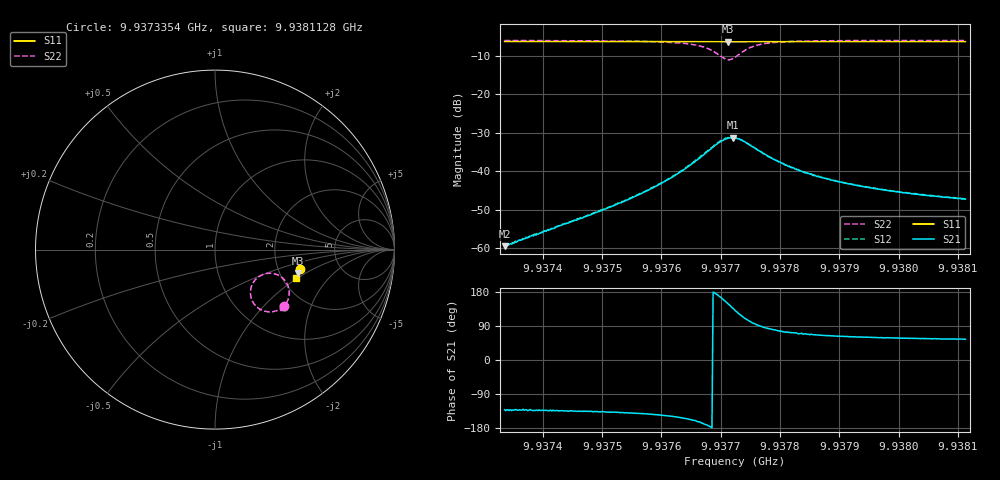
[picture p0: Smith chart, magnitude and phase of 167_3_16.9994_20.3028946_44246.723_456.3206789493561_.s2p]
#  HZ  S  RI  R  50.00
! Rohde & Schwarz Vector Network Analyzer
! Rohde-Schwarz,ZNB20-2Port,1311601062101988,3.16
! Created: UTC 3/20/2024, 10:59:36 PM
! freq[Hz]  re:S11  im:S11  re:S21  im:S21  re:S12  im:S12  re:S22  im:S22
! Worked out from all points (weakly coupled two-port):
!   401 points, 9.9373354 GHz to 9.9381128 GHz, reference 50 ohm
!   highest |S21| = -31.33 dB at 9.9377202 GHz (marker M1); lowest = -59.5 dB at 9.9373354 GHz (marker M2)
!   lowest |S11| = -6.4 dB at 9.9377124 GHz (marker M3), VSWR 2.83, Z = 125 - j42.8 ohm
!   |S11| at or under -10 dB: nowhere
!   |S22| runs from -11.1 to -6.0 dB; largest |S21 - S12| = 0.0013
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9.93733544e9  0.471 -0.1088  -0.000699 -0.000797  -0.000739 -0.000793  0.3864 -0.3131
9.93746564e9  0.4683 -0.1176  -0.00174 -0.00172  -0.0018 -0.00172  0.3708 -0.3259
9.9375356e9  0.4665 -0.1224  -0.00302 -0.00264  -0.00311 -0.00265  0.3562 -0.3348
9.93759584e9  0.465 -0.1267  -0.00544 -0.00387  -0.00564 -0.00382  0.332 -0.3439
9.93763471e9  0.4636 -0.1293  -0.00894 -0.00459  -0.0092 -0.00457  0.301 -0.3474
9.93767164e9  0.4619 -0.1317  -0.0161 -0.00321  -0.0166 -0.00311  0.2437 -0.3278
9.93768524e9  0.4612 -0.1323  -0.0201 -0.000447  -0.0204 8.76e-05  0.2151 -0.2991
9.9376969e9  0.4605 -0.1326  -0.0231 0.00457  -0.0235 0.00519  0.1986 -0.2555
9.93770662e9  0.46 -0.1325  -0.0237 0.0103  -0.0239 0.0113  0.202 -0.2075
9.93771245e9  0.4598 -0.1323  -0.0229 0.0141  -0.0227 0.0152  0.2161 -0.1785
9.93772022e9  0.46 -0.1323  -0.0198 0.0185  -0.0194 0.0195  0.2474 -0.1484
9.93772411e9  0.4599 -0.1322  -0.0176 0.0203  -0.0172 0.0212  0.2664 -0.1388
9.93773382e9  0.4604 -0.1326  -0.0121 0.0224  -0.0114 0.023  0.3147 -0.132
9.93774548e9  0.4609 -0.1333  -0.00589 0.022  -0.00525 0.0223  0.36 -0.1466
9.93776686e9  0.4613 -0.1351  0.000182 0.0179  0.000715 0.0181  0.4005 -0.1886
9.93778824e9  0.4611 -0.1368  0.0025 0.0141  0.00284 0.0142  0.412 -0.2222
9.93781156e9  0.4607 -0.1386  0.00329 0.0115  0.00359 0.0114  0.4133 -0.2468
9.93785431e9  0.4597 -0.1417  0.00346 0.0082  0.00372 0.00828  0.4084 -0.2731
9.93790872e9  0.4584 -0.1455  0.00328 0.00619  0.00343 0.0062  0.4011 -0.2916
9.93798451e9  0.4566 -0.1504  0.00287 0.00473  0.00304 0.00472  0.3922 -0.3062
9.93804282e9  0.455 -0.1544  0.00267 0.00407  0.0028 0.00409  0.3869 -0.3139
9.93811278e9  0.4532 -0.1588  0.00251 0.00353  0.00256 0.00355  0.3809 -0.3209
